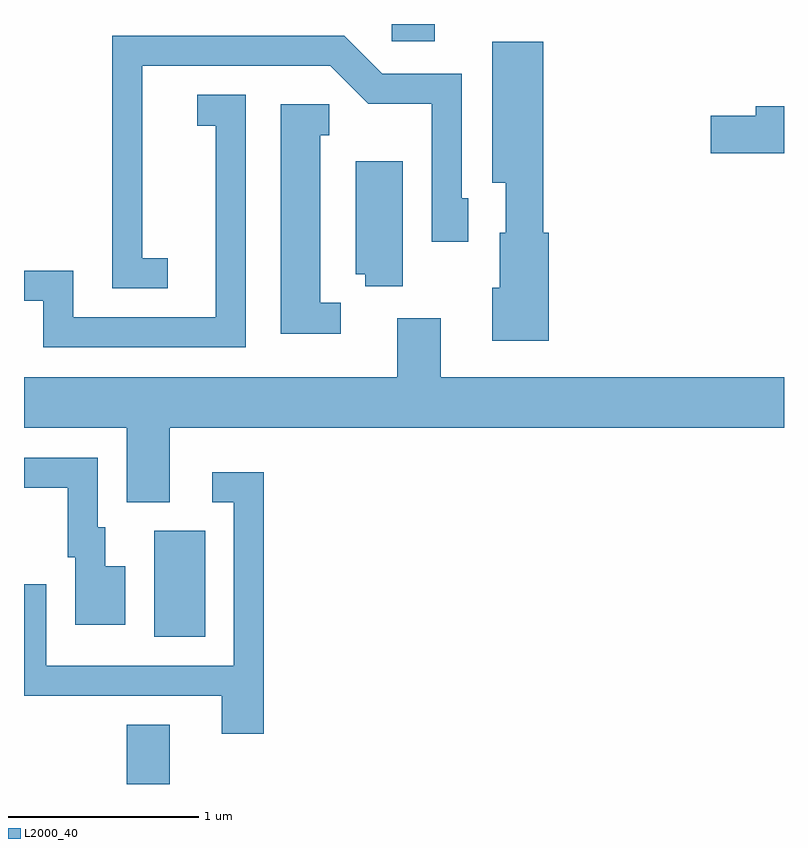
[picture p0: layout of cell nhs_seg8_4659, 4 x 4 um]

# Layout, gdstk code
import gdstk
lib = gdstk.Library(unit=1e-6, precision=1e-09)
def R(c, l, rs):  # rectangles x0, y0, x1, y1
    for r in rs: c.add(gdstk.rectangle(r[:2], r[2:], *l))
def P(c, l, *ps):  # polygons
    for p in ps: c.add(gdstk.Polygon(p, *l))
L2000_40 = (2000, 40)

nhs_seg8_4659 = lib.new_cell('nhs_seg8_4659')
R(nhs_seg8_4659, L2000_40, [(326.151,1812.342,326.379,1812.654), (326.296,1813.116,326.564,1813.674), (327.546,1816.251,327.774,1816.342)])
P(nhs_seg8_4659, L2000_40, [(326.368,1815.109),(326.234,1815.109),(326.234,1816.121),(327.224,1816.121),(327.424,1815.921),(327.756,1815.921),(327.756,1815.196),(327.949,1815.196),(327.949,1815.424),(327.914,1815.424),(327.914,1816.079),(327.497,1816.079),(327.297,1816.279),(326.076,1816.279),(326.076,1814.951),(326.368,1814.951)],
  [(328.374,1815.244),(328.344,1815.244),(328.344,1816.249),(328.076,1816.249),(328.076,1815.506),(328.146,1815.506),(328.146,1815.244),(328.116,1815.244),(328.116,1814.954),(328.076,1814.954),(328.076,1814.676),(328.374,1814.676)],
  [(326.779,1815.969),(326.523,1815.969),(326.523,1815.806),(326.621,1815.806),(326.621,1814.799),(325.869,1814.799),(325.869,1815.044),(325.611,1815.044),(325.611,1814.886),(325.711,1814.886),(325.711,1814.641),(326.779,1814.641)],
  [(327.278,1814.874),(327.169,1814.874),(327.169,1815.756),(327.218,1815.756),(327.218,1815.919),(326.961,1815.919),(326.961,1814.711),(327.278,1814.711)],
  [(329.611,1815.909),(329.461,1815.909),(329.461,1815.859),(329.226,1815.859),(329.226,1815.661),(329.611,1815.661)],
  [(327.604,1815.619),(327.356,1815.619),(327.356,1815.026),(327.406,1815.026),(327.406,1814.961),(327.604,1814.961)],
  [(326.379,1814.216),(329.611,1814.216),(329.611,1814.484),(327.804,1814.484),(327.804,1814.794),(327.576,1814.794),(327.576,1814.484),(325.611,1814.484),(325.611,1814.216),(326.151,1814.216),(326.151,1813.826),(326.379,1813.826)],
  [(326.144,1813.489),(326.039,1813.489),(326.039,1813.694),(325.999,1813.694),(325.999,1814.059),(325.611,1814.059),(325.611,1813.901),(325.841,1813.901),(325.841,1813.536),(325.881,1813.536),(325.881,1813.181),(326.144,1813.181)],
  [(326.874,1813.984),(326.603,1813.984),(326.603,1813.826),(326.716,1813.826),(326.716,1812.964),(325.729,1812.964),(325.729,1813.393),(325.611,1813.393),(325.611,1812.806),(326.651,1812.806),(326.651,1812.606),(326.874,1812.606)])

lib.write_gds('nhs_seg8_4659.gds')
